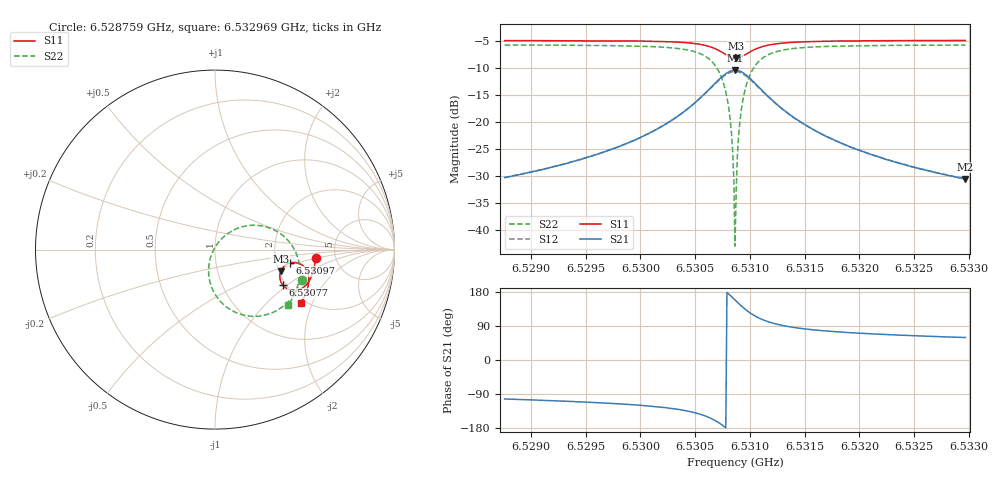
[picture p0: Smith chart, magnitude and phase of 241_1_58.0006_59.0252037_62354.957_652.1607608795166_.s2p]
#  HZ  S  RI  R  50.00
! Rohde & Schwarz Vector Network Analyzer
! Rohde-Schwarz,ZNB20-2Port,1311601062101988,3.16
! Created: UTC 3/21/2024, 1:01:03 AM
! freq[Hz]  re:S11  im:S11  re:S21  im:S21  re:S12  im:S12  re:S22  im:S22
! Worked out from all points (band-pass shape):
!   401 points, 6.528759 GHz to 6.532969 GHz, reference 50 ohm
!   highest |S21| = -10.46 dB at 6.530864 GHz (marker M1); lowest = -30.6 dB at 6.532969 GHz (marker M2)
!   |S21| within 3 dB of the highest: 6.530654 GHz to 6.531076 GHz (421.2 kHz wide, 0.00645 % of centre)
!   lowest |S11| = -8.3 dB at 6.530875 GHz (marker M3), VSWR 2.26, Z = 102 - j28.9 ohm
!   |S11| at or under -10 dB: nowhere
!   |S22| runs from -43.0 to -5.8 dB; largest |S21 - S12| = 0.012
!   S11 on the Smith chart (normalised r, x): 6.528759 GHz: 3.50, -0.49; 6.53077 GHz: 1.92, -0.92; 6.53097 GHz: 2.38, -0.43; 6.532969 GHz: 1.89, -1.66
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6.5287594e9  0.5603 -0.0477  -0.0068 -0.0297  -0.00732 -0.0297  0.4832 -0.1683
6.5294645e9  0.5511 -0.1063  -0.0161 -0.0423  -0.017 -0.042  0.4525 -0.2321
6.5301697e9  0.5242 -0.1761  -0.0487 -0.0726  -0.0509 -0.0713  0.3718 -0.3213
6.5305906e9  0.4551 -0.2264  -0.1543 -0.0985  -0.1566 -0.0921  0.1694 -0.3669
6.5306959e9  0.4111 -0.2221  -0.2224 -0.0728  -0.2219 -0.0633  0.0545 -0.3123
6.5307695e9  0.3765 -0.1957  -0.2727 -0.0156  -0.2673 -0.00571  -0.0199 -0.2072
6.5308011e9  0.3657 -0.1762  -0.2861 0.0221  -0.2783 0.0308  -0.0348 -0.1421
6.5308222e9  0.3619 -0.1609  -0.2896 0.0507  -0.2802 0.058  -0.0349 -0.0946
6.5308327e9  0.361 -0.1527  -0.2891 0.0656  -0.2793 0.0721  -0.0317 -0.0704
6.5308432e9  0.3611 -0.1444  -0.2873 0.0805  -0.277 0.0861  -0.0259 -0.0463
6.5308537e9  0.3621 -0.1361  -0.2839 0.0955  -0.2734 0.1001  -0.0176 -0.0227
6.5308643e9  0.3639 -0.1279  -0.279 0.1101  -0.2684 0.1137  -0.00708 0.000114
6.5308748e9  0.3666 -0.1199  -0.2729 0.124  -0.2622 0.1266  0.0058 0.0218
6.5308853e9  0.3702 -0.1123  -0.2654 0.1371  -0.2546 0.139  0.0206 0.042
6.5308958e9  0.3745 -0.1053  -0.2566 0.1496  -0.2462 0.1504  0.0371 0.0607
6.5309169e9  0.385 -0.0928  -0.236 0.1708  -0.2265 0.1702  0.0744 0.0916
6.5309695e9  0.4175 -0.0746  -0.1772 0.2024  -0.1702 0.1996  0.1771 0.1325
6.5310432e9  0.4595 -0.0742  -0.1034 0.2046  -0.0999 0.2017  0.3006 0.1217
6.5311484e9  0.4964 -0.0959  -0.0399 0.1745  -0.0382 0.1728  0.4028 0.0556
6.5315694e9  0.5229 -0.1749  0.0151 0.0844  0.0161 0.084  0.4721 -0.1334
6.5322745e9  0.5046 -0.2467  0.0172 0.0405  0.0181 0.0402  0.4431 -0.2481
6.5329691e9  0.4787 -0.2989  0.015 0.0254  0.0157 0.0252  0.408 -0.3081
